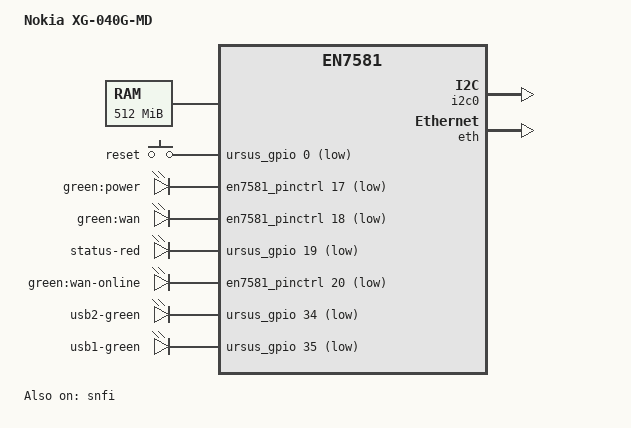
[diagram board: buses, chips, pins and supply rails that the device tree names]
// SPDX-License-Identifier: (GPL-2.0-only OR BSD-2-Clause)
/dts-v1/;

#include <dt-bindings/leds/common.h>
#include <dt-bindings/gpio/gpio.h>
#include <dt-bindings/input/input.h>
#include "en7581.dtsi"

/ {
	model = "Nokia XG-040G-MD";
	compatible = "nokia,xg-040g-md",
		     "airoha,an7581",
		     "airoha,en7581";

	chosen {
		bootargs = "console=ttyS0,115200 earlycon";
		stdout-path = "serial0:115200n8";
		linux,usable-memory-range = <0x0 0x80200000 0x0 0x1fe00000>;
	};


	ursus_gpio: gpio@1fbf0200 {
		compatible = "ursus,an7581-safe-gpio";
		reg = <0x0 0x1fbf0200 0x0 0xc0>;
		gpio-controller;
		#gpio-cells = <2>;
	};

	memory@80000000 {
		device_type = "memory";
		reg = <0x0 0x80000000 0x0 0x20000000>;
	};

	keys {
		compatible = "gpio-keys";

		button-0 {
			label = "reset";
			linux,code = <KEY_RESTART>;
			gpios = <&ursus_gpio 0 GPIO_ACTIVE_LOW>;
		};
	};

	leds {
		compatible = "gpio-leds";

		led-0 {
			label = "green:power";
			gpios = <&en7581_pinctrl 17 GPIO_ACTIVE_LOW>;
		};

		led-1 {
			label = "green:wan";
			gpios = <&en7581_pinctrl 18 GPIO_ACTIVE_LOW>;
		};

		status-red {
			label = "status-red";
			gpios = <&ursus_gpio 19 GPIO_ACTIVE_LOW>;
		};

		led-3 {
			label = "green:wan-online";
			gpios = <&en7581_pinctrl 20 GPIO_ACTIVE_LOW>;
		};

		usb2-green {
			label = "usb2-green";
			gpios = <&ursus_gpio 34 GPIO_ACTIVE_LOW>;
		};

		usb1-green {
			label = "usb1-green";
			gpios = <&ursus_gpio 35 GPIO_ACTIVE_LOW>;
		};
	};
};

&snfi {
	status = "okay";
};

&spi_nand {
	partitions {
		compatible = "fixed-partitions";
		#address-cells = <1>;
		#size-cells = <1>;

		partition@0 {
			label = "bl2";
			reg = <0x0 0x20000>;
		};

		partition@20000 {
			label = "ubi";
			reg = <0x20000 0xffe0000>;
		};
	};
};

&i2c0 {
	status = "okay";
};

&eth {
	status = "okay";
};
